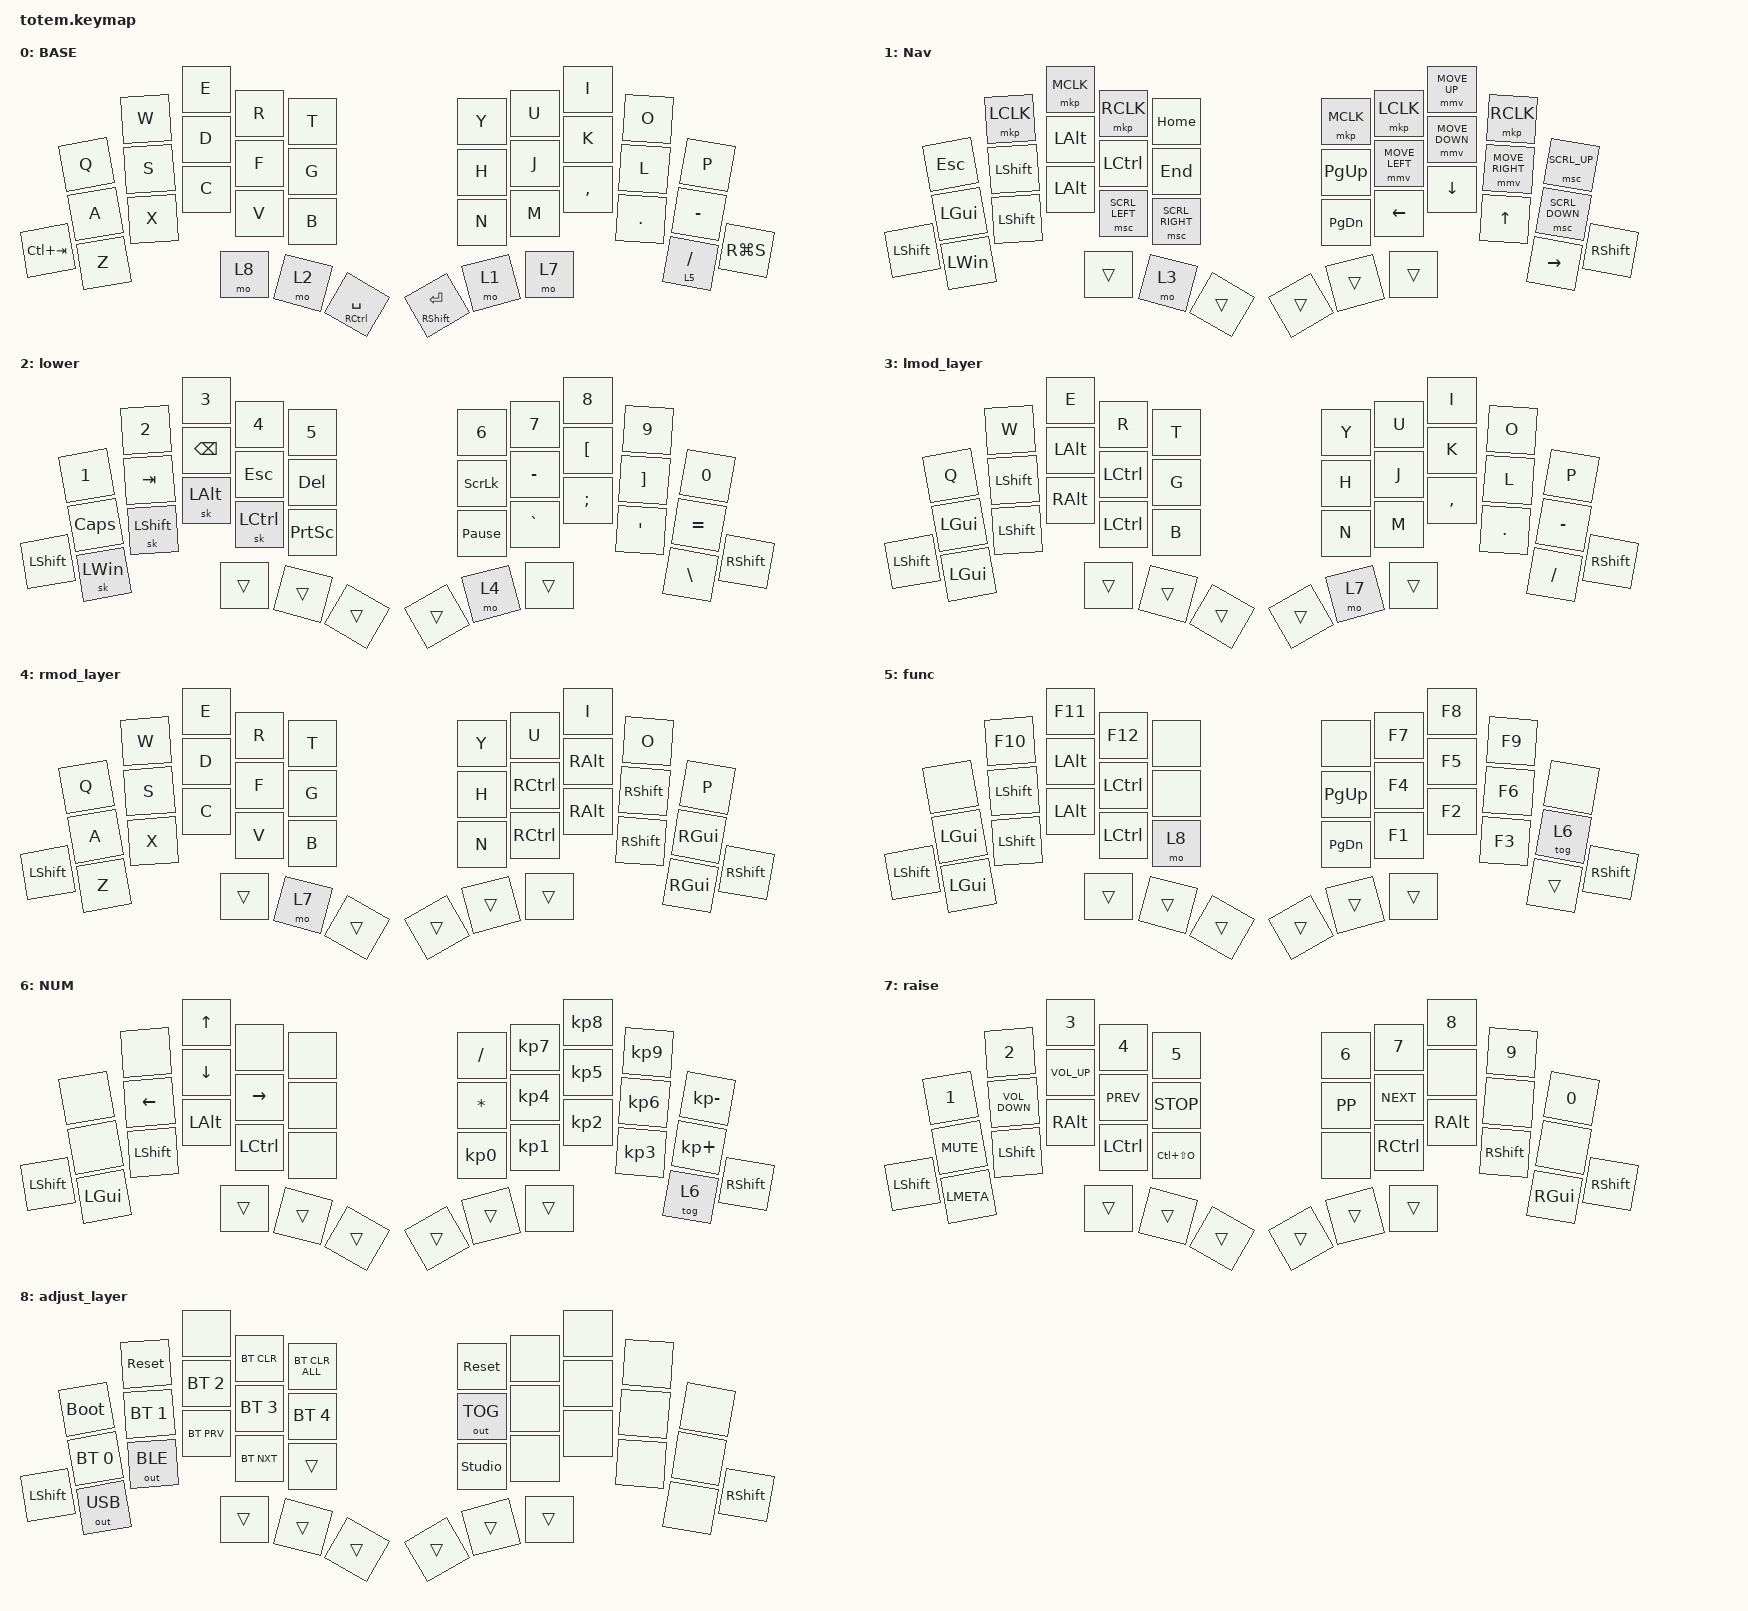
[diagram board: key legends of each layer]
// 利便性を考えて、デフォルトではなくhttps://github.com/note96e/thorium/ ベース　Mityoku（QWERTY）配列

#include <dt-bindings/zmk/mouse.h>
#include <behaviors/rgbled_widget.dtsi>
#include <behaviors.dtsi>
#include <dt-bindings/zmk/bt.h>
#include <dt-bindings/zmk/keys.h>
#include <dt-bindings/zmk/outputs.h>
#include <dt-bindings/zmk/pointing.h>

&mt {
    quick-tap-ms = <175>;
    require-prior-idle-ms = <125>;
    flavor = "tap-preferred";
    tapping-term-ms = <300>;
};

/ {
    combos {
        compatible = "zmk,combos";

        combo_esc {
            timeout-ms = <50>;
            key-positions = <0 1>;
            bindings = <&kp ESC>;
        };

        back {
            bindings = <&kp BACKSPACE>;
            key-positions = <8 9>;
            timeout-ms = <50>;
        };

        ZenHan {
            bindings = <&kp LC(SPACE)>;
            key-positions = <12 13>;
            timeout-ms = <50>;
        };

        Num-Dot-Combo {
            bindings = <&kp DOT>;
            key-positions = <27 28>;
            timeout-ms = <20>;
            layers = <7>;
        };

        ndq {
            bindings = <&ndq_id_macro>;
            key-positions = <1 2>;
            layers = <2>;
        };

        pc {
            bindings = <&PC_macro>;
            key-positions = <2 3>;
            layers = <2>;
        };

        kakko_start {
            bindings = <&kp LEFT_PARENTHESIS>;
            key-positions = <7 6>;
            layers = <7>;
        };

        kakko_end {
            bindings = <&kp RIGHT_PARENTHESIS>;
            key-positions = <7 8>;
            layers = <7>;
        };

        zaq {
            bindings = <&zaq_macro>;
            key-positions = <4 3>;
            layers = <2>;
        };

        sysop {
            bindings = <&sysop_macro>;
            key-positions = <1 3>;
            layers = <2>;
        };
    };

    macros {
        zaq_macro: zaq_macro {
            compatible = "zmk,behavior-macro";
            #binding-cells = <0>;
            bindings = <&kp Z &kp A &kp Q &kp N1 &kp DQT &kp LS(W) &kp LS(S) &kp LS(X)>;
            label = "ZAQ_MACRO";
        };

        ndq_id_macro: nsq_id_macro {
            compatible = "zmk,behavior-macro";
            #binding-cells = <0>;
            bindings = <&kp N4 &kp N4 &kp N5 &kp N6 &kp N3 &kp N6 &kp N0>;
            label = "NSQ_ID_MACRO";
        };

        PC_macro: PC_macro {
            compatible = "zmk,behavior-macro";
            #binding-cells = <0>;
            bindings = <&kp A &kp S &kp D &kp F &kp SEMI &kp L &kp K &kp J>;
            label = "PC_MACRO";
        };

        sysop_macro: sysop_macro {
            compatible = "zmk,behavior-macro";
            #binding-cells = <0>;
            bindings = <&kp S &kp Y &kp S &kp O &kp P &kp N0 &kp N0 &kp N0>;
            label = "SYSOP_MACRO";
        };
    };

    keymap {
        compatible = "zmk,keymap";

        // ─────────────────────────────
        // BASE（jurf 60% Miryoku　Base）
        // ─────────────────────────────

        base_layer {
            display-name = "BASE";
            bindings = <
             &kp Q  &kp W  &kp E  &kp R  &kp T              &kp Y                  &kp U  &kp I      &kp O    &kp P
             &kp A  &kp S  &kp D  &kp F  &kp G              &kp H                  &kp J  &kp K      &kp L    &kp MINUS
&kp LC(TAB)  &kp Z  &kp X  &kp C  &kp V  &kp B              &kp N                  &kp M  &kp COMMA  &kp DOT  &lt 5 SLASH  &kp RG(S)
                           &mo 8  &mo 2  &mt RCTRL SPACE    &mt RIGHT_SHIFT ENTER  &mo 1  &mo 7
            >;
        };

        nav_layer {
            display-name = "Nav";
            bindings = <
           &kp ESCAPE    &mkp LCLK  &mkp MCLK     &mkp RCLK       &kp HOME           &mkp MCLK      &mkp LCLK       &mmv MOVE_UP    &mkp RCLK        &msc SCRL_UP
           &kp LEFT_GUI  &kp LSHFT  &kp LALT      &kp LCTRL       &kp END            &kp PAGE_UP    &mmv MOVE_LEFT  &mmv MOVE_DOWN  &mmv MOVE_RIGHT  &msc SCRL_DOWN
&kp LSHFT  &kp LEFT_WIN  &kp LSHFT  &kp LEFT_ALT  &msc SCRL_LEFT  &msc SCRL_RIGHT    &kp PAGE_DOWN  &kp LEFT        &kp DOWN        &kp UP           &kp RIGHT       &kp RSHFT
                                    &trans        &mo 3           &trans             &trans         &trans          &trans
            >;
        };

        lower_layer {
            display-name = "lower";
            bindings = <
           &kp N1    &kp N2     &kp N3         &kp N4      &kp N5             &kp N6           &kp N7     &kp N8            &kp N9             &kp N0
           &kp CAPS  &kp TAB    &kp BACKSPACE  &kp ESCAPE  &kp DELETE         &kp SCROLLLOCK   &kp MINUS  &kp LEFT_BRACKET  &kp RIGHT_BRACKET  &kp EQUAL
&kp LSHFT  &sk LWIN  &sk LSHFT  &sk LEFT_ALT   &sk LCTRL   &kp PRINTSCREEN    &kp PAUSE_BREAK  &kp GRAVE  &kp SEMICOLON     &kp SQT            &kp BACKSLASH  &kp RSHFT
                                &trans         &trans      &trans             &trans           &mo 4      &trans
            >;
        };

        lmod_layer {
            bindings = <
           &kp Q         &kp W           &kp E          &kp R      &kp T     &kp Y   &kp U  &kp I      &kp O       &kp P
           &kp LEFT_GUI  &kp LEFT_SHIFT  &kp LALT       &kp LCTRL  &kp G     &kp H   &kp J  &kp K      &kp L       &kp MINUS
&kp LSHFT  &kp LEFT_GUI  &kp LEFT_SHIFT  &kp RIGHT_ALT  &kp LCTRL  &kp B     &kp N   &kp M  &kp COMMA  &kp PERIOD  &kp SLASH  &kp RSHFT
                                         &trans         &trans     &trans    &trans  &mo 7  &trans
            >;
        };

        rmod_layer {
            bindings = <
           &kp Q  &kp W  &kp E   &kp R  &kp T     &kp Y   &kp U      &kp I          &kp O      &kp P
           &kp A  &kp S  &kp D   &kp F  &kp G     &kp H   &kp RCTRL  &kp RIGHT_ALT  &kp RSHFT  &kp RIGHT_GUI
&kp LSHFT  &kp Z  &kp X  &kp C   &kp V  &kp B     &kp N   &kp RCTRL  &kp RIGHT_ALT  &kp RSHFT  &kp RIGHT_GUI  &kp RSHFT
                         &trans  &mo 7  &trans    &trans  &trans     &trans
            >;
        };

        func_layer {
            display-name = "func";
            bindings = <
           &none         &kp F10         &kp F11       &kp F12    &none     &none          &kp F7  &kp F8  &kp F9  &none
           &kp LEFT_GUI  &kp LEFT_SHIFT  &kp LEFT_ALT  &kp LCTRL  &none     &kp PAGE_UP    &kp F4  &kp F5  &kp F6  &tog 6
&kp LSHFT  &kp LGUI      &kp LSHFT       &kp LEFT_ALT  &kp LCTRL  &mo 8     &kp PAGE_DOWN  &kp F1  &kp F2  &kp F3  &trans  &kp RSHFT
                                         &trans        &trans     &trans    &trans         &trans  &trans
            >;
        };

        num_layer {
            display-name = "NUM";
            bindings = <
           &none         &none           &kp UP_ARROW    &none            &none     &kp SLASH     &kp KP_N7  &kp KP_N8  &kp KP_N9  &kp KP_MINUS
           &none         &kp LEFT_ARROW  &kp DOWN_ARROW  &kp RIGHT_ARROW  &none     &kp ASTERISK  &kp KP_N4  &kp KP_N5  &kp KP_N6  &kp KP_PLUS
&kp LSHFT  &kp LEFT_GUI  &kp LEFT_SHIFT  &kp LEFT_ALT    &kp LCTRL        &none     &kp KP_N0     &kp KP_N1  &kp KP_N2  &kp KP_N3  &tog 6        &kp RSHFT
                                         &trans          &trans           &trans    &trans        &trans     &trans
            >;
        };

        raise_layer {
            display-name = "raise";
            bindings = <
           &kp NUMBER_1  &kp NUMBER_2       &kp NUMBER_3   &kp NUMBER_4  &kp NUMBER_5     &kp NUMBER_6  &kp NUMBER_7  &kp NUMBER_8  &kp NUMBER_9  &kp NUMBER_0
           &kp K_MUTE    &kp C_VOLUME_DOWN  &kp C_VOL_UP   &kp K_PREV    &kp K_STOP       &kp K_PP      &kp K_NEXT    &none         &none         &none
&kp LSHFT  &kp LMETA     &kp LSHFT          &kp RIGHT_ALT  &kp LCTRL     &kp LC(LS(O))    &none         &kp RCTRL     &kp RALT      &kp RSHFT     &kp RIGHT_GUI  &kp RSHFT
                                            &trans         &trans        &trans           &trans        &trans        &trans
            >;
        };

        adjust_layer {
            bindings = <
                &bootloader   &sys_reset    &none         &bt BT_CLR    &bt BT_CLR_ALL    &sys_reset      &none   &none   &none  &none
                &bt BT_SEL 0  &bt BT_SEL 1  &bt BT_SEL 2  &bt BT_SEL 3  &bt BT_SEL 4      &out OUT_TOG    &none   &none   &none  &none
&kp LEFT_SHIFT  &out OUT_USB  &out OUT_BLE  &bt BT_PRV    &bt BT_NXT    &trans            &studio_unlock  &none   &none   &none  &none  &kp RSHFT
                                            &trans        &trans        &trans            &trans          &trans  &trans
            >;
        };
    };
};
